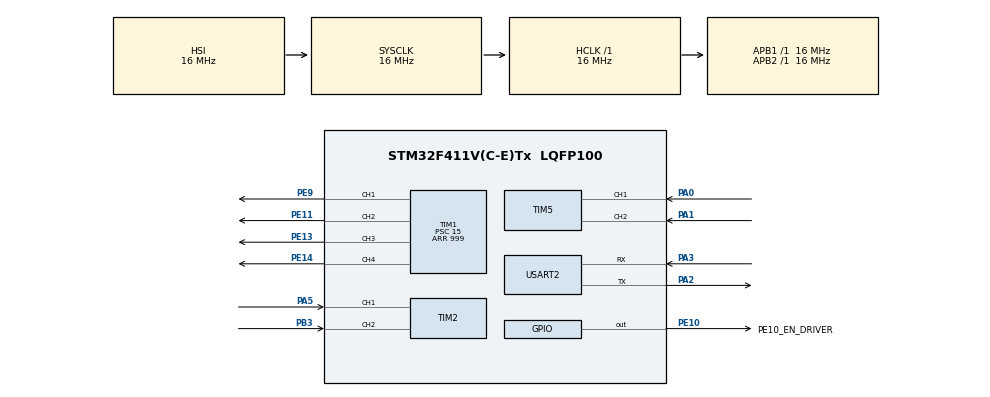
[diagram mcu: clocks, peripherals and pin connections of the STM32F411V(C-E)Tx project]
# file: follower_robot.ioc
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Dma.Request0=USART2_TX
Dma.USART2_TX.0.Direction=DMA_MEMORY_TO_PERIPH
Dma.USART2_TX.0.FIFOMode=DMA_FIFOMODE_DISABLE
Dma.USART2_TX.0.Instance=DMA1_Stream6
Dma.USART2_TX.0.MemDataAlignment=DMA_MDATAALIGN_BYTE
Dma.USART2_TX.0.MemInc=DMA_MINC_ENABLE
Dma.USART2_TX.0.Mode=DMA_NORMAL
Dma.USART2_TX.0.PeriphDataAlignment=DMA_PDATAALIGN_BYTE
Dma.USART2_TX.0.PeriphInc=DMA_PINC_DISABLE
Dma.USART2_TX.0.Priority=DMA_PRIORITY_LOW
Mcu.Family=STM32F4
Mcu.Name=STM32F411V(C-E)Tx
Mcu.Package=LQFP100
NVIC.DMA1_Stream6_IRQn=true\:0\:0\:false\:false\:true\:false\:true\:true
NVIC.PriorityGroup=NVIC_PRIORITYGROUP_4
NVIC.TIM3_IRQn=true\:1\:0\:true\:false\:true\:true\:true\:true
NVIC.USART2_IRQn=true\:0\:0\:false\:false\:true\:true\:true\:true
PA0-WKUP.Signal=S_TIM5_CH1
PA1.Signal=S_TIM5_CH2
PA13.Mode=Serial_Wire
PA13.Signal=SYS_JTMS-SWDIO
PA14.Mode=Serial_Wire
PA14.Signal=SYS_JTCK-SWCLK
PA2.Mode=Asynchronous
PA2.Signal=USART2_TX
PA3.Mode=Asynchronous
PA3.Signal=USART2_RX
PA5.Signal=S_TIM2_CH1_ETR
PB3.Signal=S_TIM2_CH2
PE10.GPIO_Label=PE10_EN_DRIVER
PE10.Signal=GPIO_Output
PE11.Signal=S_TIM1_CH2
PE13.Signal=S_TIM1_CH3
PE14.Signal=S_TIM1_CH4
PE9.Signal=S_TIM1_CH1
ProjectManager.HeapSize=0x200
ProjectManager.StackSize=0x400
ProjectManager.TargetToolchain=STM32CubeIDE
RCC.AHBFreq_Value=16000000
RCC.APB1Freq_Value=16000000
RCC.APB2Freq_Value=16000000
RCC.CortexFreq_Value=16000000
RCC.HSE_VALUE=25000000
RCC.HSI_VALUE=16000000
RCC.LSE_VALUE=32768
RCC.SYSCLKFreq_VALUE=16000000
RCC.VCOOutputFreq_Value=192000000
SH.S_TIM1_CH1.0=TIM1_CH1,PWM Generation1 CH1
SH.S_TIM1_CH2.0=TIM1_CH2,PWM Generation2 CH2
SH.S_TIM1_CH3.0=TIM1_CH3,PWM Generation3 CH3
SH.S_TIM1_CH4.0=TIM1_CH4,PWM Generation4 CH4
SH.S_TIM2_CH1_ETR.0=TIM2_CH1,Encoder_Interface
SH.S_TIM2_CH2.0=TIM2_CH2,Encoder_Interface
SH.S_TIM5_CH1.0=TIM5_CH1,Encoder_Interface
SH.S_TIM5_CH2.0=TIM5_CH2,Encoder_Interface
TIM1.Channel-PWM\ Generation1\ CH1=TIM_CHANNEL_1
TIM1.Channel-PWM\ Generation2\ CH2=TIM_CHANNEL_2
TIM1.Channel-PWM\ Generation3\ CH3=TIM_CHANNEL_3
TIM1.Channel-PWM\ Generation4\ CH4=TIM_CHANNEL_4
TIM1.Period=999
TIM1.Prescaler=15
TIM3.Period=9999
TIM3.Prescaler=159
USART2.VirtualMode=VM_ASYNC
VP_TIM1_VS_ClockSourceINT.Mode=Internal
VP_TIM3_VS_ClockSourceINT.Mode=Internal
board=custom

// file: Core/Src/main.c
/* USER CODE BEGIN Header */
/**
  ******************************************************************************
  * @file           : main.c
  * @brief          : Main program body
  ******************************************************************************
  * @attention
  *
  * Copyright (c) 2024 STMicroelectronics.
  * All rights reserved.
  *
  * This software is licensed under terms that can be found in the LICENSE file
  * in the root directory of this software component.
  * If no LICENSE file comes with this software, it is provided AS-IS.
  *
  ******************************************************************************
  */
/* USER CODE END Header */
#include "main.h"

/* USER CODE BEGIN Includes */
#include "transmit_function.h"
#include "decoding_frame.h"
#include "Robot_odom.h"
#include "string.h"
#include "pid_module.h"
/* USER CODE END Includes */

/* USER CODE BEGIN PTD */
uint8_t enc_buff_right[4];
uint8_t enc_buff_left[4];
uint8_t Rx;// chỉ lưu 1byte
uint8_t uart_buff[50];
int uart_flag = 0;
uint8_t uart_len = 0;

int32_t encoder_value_left = 0;
int32_t encoder_value_right = 0;
int32_t pre_encoder_value_left = 0;
int32_t pre_encoder_value_right = 0;
int32_t encoder_difference_left  = 0;
int32_t encoder_difference_right = 0;

uint8_t encoder_buf[30];
char data[100] ="";
uint8_t data_right[11] ="";
uint8_t data_left[11] ="";

int  en_run = 0;
int en_PID = 0;
int count =0;
float phid_pid = 0.0;
float distance_to_goals = 0;
/* USER CODE END PTD */

TIM_HandleTypeDef htim1;
TIM_HandleTypeDef htim2;
TIM_HandleTypeDef htim3;
TIM_HandleTypeDef htim5;

UART_HandleTypeDef huart2;
DMA_HandleTypeDef hdma_usart2_tx;

Robot myRobot;
PID_handleTypedef hpid;
desired_point my_desired_point;

void SystemClock_Config(void);
static void MX_GPIO_Init(void);
static void MX_DMA_Init(void);
static void MX_USART2_UART_Init(void);
static void MX_TIM1_Init(void);
static void MX_TIM2_Init(void);
static void MX_TIM3_Init(void);
static void MX_TIM5_Init(void);

/* USER CODE BEGIN 0 */

void HAL_UART_RxCpltCallback(UART_HandleTypeDef *huart){
	if(huart->Instance==huart2.Instance){
//		receive_data(Rx);
		if(Rx == '\n'){
			uart_flag =1;
			uart_buff[uart_len++] = Rx;
		}

		else{
			uart_buff[uart_len++]= Rx;
		}

		HAL_UART_Receive_IT(&huart2, &Rx, 1);
	}
}
// todo timer interuppt
void HAL_TIM_PeriodElapsedCallback(TIM_HandleTypeDef *htim){
	if (htim->Instance == TIM3){
		//doc encoder
		if(count >= 0.1 ){

			encoder_value_left = -1*__HAL_TIM_GET_COUNTER(&htim2);
			encoder_value_right =__HAL_TIM_GET_COUNTER(&htim5);

			encoder_difference_left = encoder_value_left - pre_encoder_value_left;
			encoder_difference_right = encoder_value_right - pre_encoder_value_right;
			pre_encoder_value_right = encoder_value_right ;
			pre_encoder_value_left = encoder_value_left ;
//
			update_Position(&myRobot, encoder_difference_left, encoder_difference_right,0.1);
//			update_Position_base_velocity(&myRobot, encoder_difference_left, encoder_difference_right,0.1);//delta time is 0.1

			//ennable PID calculation
			en_PID =1;

			//end condition
//			distance_to_goals =sqrt((myRobot.x-my_desired_point.x_d)*(myRobot.x - my_desired_point.x_d)+(myRobot.y - my_desired_point.y_d)*(myRobot.y-my_desired_point.y_d));
//			//sprintf(data,"!distance:%.2f#\n",distance_to_goals);
//			//HAL_UART_Transmit_DMA(&huart2, (uint8_t*)data,strlen(data));()abs(myRobot.x - my_desired_point.x_d) < 0.01) &(abs(myRobot.y - my_desired_point.y_d) <0.01
//			if((distance_to_goals < 0.03) ){
//				HAL_GPIO_WritePin(PE10_EN_DRIVER_GPIO_Port,PE10_EN_DRIVER_Pin,RESET);
//				en_run = 0;
//			}
			//return encoder value
//			sprintf(data,"!enc_L:%d#encR:%d#\n",encoder_value_left,encoder_value_right);
//			HAL_UART_Transmit_DMA(&huart2, (uint8_t*)data,strlen(data));

			//returm diff encoder value
//			sprintf(data,"!L_diff:%d#R_diff:%d#\n",encoder_difference_left,encoder_difference_right);
//			HAL_UART_Transmit_DMA(&huart2, (uint8_t*)data,strlen(data));

			//return x y phi; !cmd:RUN#x:0.00#y:0.00#phi:0.00#
//			sprintf(data,"!cmd:%s#x:%.2f#y:%.2f#phi:%.2f#\n",myRobot.cmd,myRobot.x,myRobot.y,rad_to_degree(myRobot.theta));
//			HAL_UART_Transmit_DMA(&huart2, (uint8_t*)data,strlen(data));

			//return PWM
//			sprintf(data,"!W_L_PWM:%.2f#W_R_PWM:%.2f#\n",myRobot.v_l_PWM,myRobot.v_r_PWM);
//			HAL_UART_Transmit_DMA(&huart2, (uint8_t*)data,strlen(data));

			if(strcmp(myRobot.cmd,"RUN")== 0 ){
//				return x y phi; !cmd:RUN#x:0.00#y:0.00#phi:0.00#
//				sprintf(data,"!cmd:%s#x:%.2f#y:%.2f#phi:%.2f#\n",myRobot.cmd,myRobot.x,myRobot.y,rad_to_degree(myRobot.theta));
//				HAL_UART_Transmit_DMA(&huart2, (uint8_t*)data,strlen(data));
				//return PWM
//				sprintf(data,"!W_L_PWM:%.2f#W_R_PWM:%.2f#\n",myRobot.v_l_PWM,myRobot.v_r_PWM);
//				HAL_UART_Transmit_DMA(&huart2, (uint8_t*)data,strlen(data));
			}
			//return x y phi; !cmd:RUN#x:0.00#y:0.00#phi:0.00#
			sprintf(data,"!cmd:%s#x:%.2f#y:%.2f#phi:%.2f#\n",myRobot.cmd,myRobot.x,myRobot.y,rad_to_degree(myRobot.theta));
			HAL_UART_Transmit_DMA(&huart2, (uint8_t*)data,strlen(data));

			//return PWM
//			sprintf(data,"!W_L_PWM:%.2f#W_R_PWM:%.2f#\n",myRobot.v_l_PWM,myRobot.v_r_PWM);
//			HAL_UART_Transmit_DMA(&huart2, (uint8_t*)data,strlen(data));

//			sprintf(data,"!cmd:%s#v_r:%.2f#v_l:%.2f#\n",myRobot.cmd,myRobot.v_r,myRobot.v_l);
//			HAL_UART_Transmit_DMA(&huart2, (uint8_t*)data,strlen(data));

			//reset count
			count=0;
		}
		count++;
	}
}
/* USER CODE END 0 */

int main(void)
{

  /* MCU Configuration--------------------------------------------------------*/

  /* Reset of all peripherals, Initializes the Flash interface and the Systick. */
  HAL_Init();

  /* Configure the system clock */
  SystemClock_Config();

  /* Initialize all configured peripherals */
  MX_GPIO_Init();
  MX_DMA_Init();
  MX_USART2_UART_Init();
  MX_TIM1_Init();
  MX_TIM2_Init();
  MX_TIM3_Init();
  MX_TIM5_Init();

  /* USER CODE BEGIN 2 */
  //start  uart2 interupt
  // todo
  init_Robot(&myRobot);
  desired_point_init(&my_desired_point);
  HAL_UART_Receive_IT(&huart2, &Rx, 1);
  //ref KP KI KD
//  pid_set_Kp_Ki_Kd(&hpid,1.55, 0.055, 0.025,0.1);
  pid_set_Kp_Ki_Kd(&hpid, 5, 0.13, 0.025,0.1);
  //start PWM TIM1; chanel 1,2 for left motor ; chanel 3,4 for right  motor
  //chanel 1 PE9 ;chanel 2 PE11; chanel 3 PE23 ; chanel 4 PE14;
  HAL_TIM_PWM_Start(&htim1, TIM_CHANNEL_1);
  HAL_TIM_PWM_Start(&htim1, TIM_CHANNEL_2);
  HAL_TIM_PWM_Start(&htim1, TIM_CHANNEL_3);
  HAL_TIM_PWM_Start(&htim1, TIM_CHANNEL_4);

  //start encoder Mode
  // TIM2 For encoder of left motor , TIM5 for encoder of Right motor
  // TIM2:PA5,PB3 ; TIM5 PA0,PA1
//  HAL_TIM_Encoder_Start(&htim2, TIM_CHANNEL_1|TIM_CHANNEL_2);
//  HAL_TIM_Encoder_Start(&htim5, TIM_CHANNEL_1|TIM_CHANNEL_2);
    HAL_TIM_Encoder_Start(&htim2, TIM_CHANNEL_2);
    HAL_TIM_Encoder_Start(&htim5, TIM_CHANNEL_1);
  //start interrupt timer 3
  HAL_TIM_Base_Start_IT(&htim3);
  /* USER CODE END 2 */

  /* Infinite loop */
  /* USER CODE BEGIN WHILE */
  while (1)
  {
//	  HAL_UART_Transmit(&huart2, tx_buff, sizeof(tx_buff),100);
//	  HAL_Delay(100);
// todo pid

	  // transmit data when stm32 recieved data form PC
	  if(uart_flag == 1){
		  //decoding frame data;
//		  split_frame((char*)uart_buff, &my_desired_point);
		  split_frame_vel((char*)uart_buff, &my_desired_point);
		  if(strcmp(my_desired_point.cmd_d, "RUN") == 0){
			  strcpy(myRobot.cmd,my_desired_point.cmd_d);
			  HAL_GPIO_WritePin(PE10_EN_DRIVER_GPIO_Port,PE10_EN_DRIVER_Pin,SET);
			  en_run = 1;
		  }
		  else{
			  HAL_GPIO_WritePin(PE10_EN_DRIVER_GPIO_Port,PE10_EN_DRIVER_Pin,RESET);
			  en_run = 0;
		  }
//		  HAL_UART_Transmit_DMA(&huart2, uart_buff, sizeof(uart_buff));

		  //send data to check desire point: !cmd:RUN#v_r:0.00#v_l:0.00#\n
//		  sprintf(data,"!cmd:%s#v_r:%.2f#v_l:%.2f#\n",my_desired_point.cmd_d,my_desired_point.v_r,my_desired_point.v_l);
//		  HAL_UART_Transmit_DMA(&huart2, (uint8_t*)data,strlen(data));

		  HAL_Delay(100);
		  uart_len = 0;
		  uart_flag =0;
		  en_PID = 1;
	  }
		 // PID and control motor
	  	  if(en_PID ==1){
	  		  // after recieve data store desire data to robot
	  		  myRobot.v_r = my_desired_point.v_r;
	  		  myRobot.v_l = my_desired_point.v_l;
		  	  //limint vr vl
	  		  if(myRobot.v_r >= 0){
	  			  if(myRobot.v_r > v_max){
	  				  myRobot.v_r = v_max;
	  			  }
	  			  else if(myRobot.v_r < v_min ){
	  				myRobot.v_r  = v_min;
	  			  }
	  		  }
	  		  else if(myRobot.v_r < 0){
	  			  if(-myRobot.v_r > v_max){
	  				  myRobot.v_r = -v_max;
	  			  }
	  			  else if(-myRobot.v_r < v_min ){
	  				myRobot.v_r  = -v_min;
	  			  }
	  		  }
//		  	  if(abs(myRobot.v_r) > v_max){
//		  		  if(myRobot.v_r >= 0 )
//		  			  myRobot.v_r  = (float) v_max;
//		  		  else
//		  			  myRobot.v_r  = (float)-1* v_max;
//		  	  }
//
//		  	  else if(abs(myRobot.v_r) < v_min ){
//		  		  if(myRobot.v_r >= 0 )
//		  			  myRobot.v_r  = (float)v_min;
//		  		  else
//		  			  myRobot.v_r = (float)-1*v_min ;
//		  	  }
//		  	  else{
//		  		  myRobot.v_r = my_desired_point.v_r;
//
//		  	  }
//
//		  	  if(abs(myRobot.v_l) > v_max){
//		  		  if(myRobot.v_l > 0 )
//		  			  myRobot.v_l  = (float)v_max;
//		  		  else
//		  			  myRobot.v_l  = (float)-1* v_max;
//		  	  }
//		  	  else if(abs(myRobot.v_l) < v_min ){
//		  		  if(myRobot.v_l > 0 )
//		  			  myRobot.v_l  =(float) v_min;
//		  		  else
//		  			  myRobot.v_l = (float)-1*v_min ;
//		  	  }
//		  	  else{
//		  		myRobot.v_r = my_desired_point.v_r;
//		  	  }
//		  	  sprintf(data,"!cmd:%s#v_r:%.2f#v_l:%.2f#\n",myRobot.cmd,myRobot.v_r,myRobot.v_l);
//		  	  HAL_UART_Transmit_DMA(&huart2, (uint8_t*)data,strlen(data));
		  	  // limit max min PWM for motor
		  	  myRobot.v_l_PWM = mps_to_PWM(myRobot.v_l);
		  	  myRobot.v_r_PWM = mps_to_PWM(myRobot.v_r );
//	  		  en_PID =0;
	  	  }

		  // PWM cho 2 motor
		  if(en_run == 1){
			  //left motor
			  // clockwise
			  if(myRobot.v_l_PWM > 0){
				  __HAL_TIM_SET_COMPARE(&htim1,TIM_CHANNEL_1,(int)myRobot.v_l_PWM);//
				  __HAL_TIM_SET_COMPARE(&htim1,TIM_CHANNEL_2,0);
			  }
			  //counter Clokwise
			  else{
				  __HAL_TIM_SET_COMPARE(&htim1,TIM_CHANNEL_1,0);//
				  __HAL_TIM_SET_COMPARE(&htim1,TIM_CHANNEL_2,(int)-myRobot.v_l_PWM);
			  }
			  //right motor
			  // clockwise
			  if(myRobot.v_r_PWM > 0){
				  __HAL_TIM_SET_COMPARE(&htim1,TIM_CHANNEL_3,(int)myRobot.v_r_PWM);//
				  __HAL_TIM_SET_COMPARE(&htim1,TIM_CHANNEL_4,0);
			  }
			  //counter Clokwise
			  else{
				  __HAL_TIM_SET_COMPARE(&htim1,TIM_CHANNEL_3,0);//
				  __HAL_TIM_SET_COMPARE(&htim1,TIM_CHANNEL_4,(int)-1*myRobot.v_r_PWM);
			  }
		  }
		  else{
			  strcpy(myRobot.cmd,"STP");
//			  myRobot.theta = 0.0;
//			  init_Robot(&myRobot);
			  //left motor
			  __HAL_TIM_SET_COMPARE(&htim1,TIM_CHANNEL_1,0);//
			  __HAL_TIM_SET_COMPARE(&htim1,TIM_CHANNEL_2,0);
			  //right motor
			  __HAL_TIM_SET_COMPARE(&htim1,TIM_CHANNEL_3,0);//
			  __HAL_TIM_SET_COMPARE(&htim1,TIM_CHANNEL_4,0);
			  //enable driver
//			  HAL_GPIO_WritePin(PE10_EN_DRIVER_GPIO_Port,PE10_EN_DRIVER_Pin,RESET);
		  }
		  // end condition

    /* USER CODE END WHILE */

  }
}

void SystemClock_Config(void)
{
  RCC_OscInitTypeDef RCC_OscInitStruct = {0};
  RCC_ClkInitTypeDef RCC_ClkInitStruct = {0};

  /** Configure the main internal regulator output voltage
  */
  __HAL_RCC_PWR_CLK_ENABLE();
  __HAL_PWR_VOLTAGESCALING_CONFIG(PWR_REGULATOR_VOLTAGE_SCALE1);

  /** Initializes the RCC Oscillators according to the specified parameters
  * in the RCC_OscInitTypeDef structure.
  */
  RCC_OscInitStruct.OscillatorType = RCC_OSCILLATORTYPE_HSI;
  RCC_OscInitStruct.HSIState = RCC_HSI_ON;
  RCC_OscInitStruct.HSICalibrationValue = RCC_HSICALIBRATION_DEFAULT;
  RCC_OscInitStruct.PLL.PLLState = RCC_PLL_NONE;
  if (HAL_RCC_OscConfig(&RCC_OscInitStruct) != HAL_OK)
  {
    Error_Handler();
  }

  /** Initializes the CPU, AHB and APB buses clocks
  */
  RCC_ClkInitStruct.ClockType = RCC_CLOCKTYPE_HCLK|RCC_CLOCKTYPE_SYSCLK
                              |RCC_CLOCKTYPE_PCLK1|RCC_CLOCKTYPE_PCLK2;
  RCC_ClkInitStruct.SYSCLKSource = RCC_SYSCLKSOURCE_HSI;
  RCC_ClkInitStruct.AHBCLKDivider = RCC_SYSCLK_DIV1;
  RCC_ClkInitStruct.APB1CLKDivider = RCC_HCLK_DIV1;
  RCC_ClkInitStruct.APB2CLKDivider = RCC_HCLK_DIV1;

  if (HAL_RCC_ClockConfig(&RCC_ClkInitStruct, FLASH_LATENCY_0) != HAL_OK)
  {
    Error_Handler();
  }
}

static void MX_TIM1_Init(void)
{

  TIM_ClockConfigTypeDef sClockSourceConfig = {0};
  TIM_MasterConfigTypeDef sMasterConfig = {0};
  TIM_OC_InitTypeDef sConfigOC = {0};
  TIM_BreakDeadTimeConfigTypeDef sBreakDeadTimeConfig = {0};

  htim1.Instance = TIM1;
  htim1.Init.Prescaler = 15;
  htim1.Init.CounterMode = TIM_COUNTERMODE_UP;
  htim1.Init.Period = 999;
  htim1.Init.ClockDivision = TIM_CLOCKDIVISION_DIV1;
  htim1.Init.RepetitionCounter = 0;
  htim1.Init.AutoReloadPreload = TIM_AUTORELOAD_PRELOAD_DISABLE;
  if (HAL_TIM_Base_Init(&htim1) != HAL_OK)
  {
    Error_Handler();
  }
  sClockSourceConfig.ClockSource = TIM_CLOCKSOURCE_INTERNAL;
  if (HAL_TIM_ConfigClockSource(&htim1, &sClockSourceConfig) != HAL_OK)
  {
    Error_Handler();
  }
  if (HAL_TIM_PWM_Init(&htim1) != HAL_OK)
  {
    Error_Handler();
  }
  sMasterConfig.MasterOutputTrigger = TIM_TRGO_RESET;
  sMasterConfig.MasterSlaveMode = TIM_MASTERSLAVEMODE_DISABLE;
  if (HAL_TIMEx_MasterConfigSynchronization(&htim1, &sMasterConfig) != HAL_OK)
  {
    Error_Handler();
  }
  sConfigOC.OCMode = TIM_OCMODE_PWM1;
  sConfigOC.Pulse = 0;
  sConfigOC.OCPolarity = TIM_OCPOLARITY_HIGH;
  sConfigOC.OCNPolarity = TIM_OCNPOLARITY_HIGH;
  sConfigOC.OCFastMode = TIM_OCFAST_DISABLE;
  sConfigOC.OCIdleState = TIM_OCIDLESTATE_RESET;
  sConfigOC.OCNIdleState = TIM_OCNIDLESTATE_RESET;
  if (HAL_TIM_PWM_ConfigChannel(&htim1, &sConfigOC, TIM_CHANNEL_1) != HAL_OK)
  {
    Error_Handler();
  }
  if (HAL_TIM_PWM_ConfigChannel(&htim1, &sConfigOC, TIM_CHANNEL_2) != HAL_OK)
  {
    Error_Handler();
  }
  if (HAL_TIM_PWM_ConfigChannel(&htim1, &sConfigOC, TIM_CHANNEL_3) != HAL_OK)
  {
    Error_Handler();
  }
  if (HAL_TIM_PWM_ConfigChannel(&htim1, &sConfigOC, TIM_CHANNEL_4) != HAL_OK)
  {
    Error_Handler();
  }
  sBreakDeadTimeConfig.OffStateRunMode = TIM_OSSR_DISABLE;
  sBreakDeadTimeConfig.OffStateIDLEMode = TIM_OSSI_DISABLE;
  sBreakDeadTimeConfig.LockLevel = TIM_LOCKLEVEL_OFF;
  sBreakDeadTimeConfig.DeadTime = 0;
  sBreakDeadTimeConfig.BreakState = TIM_BREAK_DISABLE;
  sBreakDeadTimeConfig.BreakPolarity = TIM_BREAKPOLARITY_HIGH;
  sBreakDeadTimeConfig.AutomaticOutput = TIM_AUTOMATICOUTPUT_DISABLE;
  if (HAL_TIMEx_ConfigBreakDeadTime(&htim1, &sBreakDeadTimeConfig) != HAL_OK)
  {
    Error_Handler();
  }
  HAL_TIM_MspPostInit(&htim1);

}

static void MX_TIM2_Init(void)
{

  TIM_Encoder_InitTypeDef sConfig = {0};
  TIM_MasterConfigTypeDef sMasterConfig = {0};

  htim2.Instance = TIM2;
  htim2.Init.Prescaler = 0;
  htim2.Init.CounterMode = TIM_COUNTERMODE_UP;
  htim2.Init.Period = 4294967295;
  htim2.Init.ClockDivision = TIM_CLOCKDIVISION_DIV1;
  htim2.Init.AutoReloadPreload = TIM_AUTORELOAD_PRELOAD_DISABLE;
  sConfig.EncoderMode = TIM_ENCODERMODE_TI1;
  sConfig.IC1Polarity = TIM_ICPOLARITY_RISING;
  sConfig.IC1Selection = TIM_ICSELECTION_DIRECTTI;
  sConfig.IC1Prescaler = TIM_ICPSC_DIV1;
  sConfig.IC1Filter = 0;
  sConfig.IC2Polarity = TIM_ICPOLARITY_RISING;
  sConfig.IC2Selection = TIM_ICSELECTION_DIRECTTI;
  sConfig.IC2Prescaler = TIM_ICPSC_DIV1;
  sConfig.IC2Filter = 0;
  if (HAL_TIM_Encoder_Init(&htim2, &sConfig) != HAL_OK)
  {
    Error_Handler();
  }
  sMasterConfig.MasterOutputTrigger = TIM_TRGO_RESET;
  sMasterConfig.MasterSlaveMode = TIM_MASTERSLAVEMODE_DISABLE;
  if (HAL_TIMEx_MasterConfigSynchronization(&htim2, &sMasterConfig) != HAL_OK)
  {
    Error_Handler();
  }

}

static void MX_TIM3_Init(void)
{

  TIM_ClockConfigTypeDef sClockSourceConfig = {0};
  TIM_MasterConfigTypeDef sMasterConfig = {0};

  htim3.Instance = TIM3;
  htim3.Init.Prescaler = 159;
  htim3.Init.CounterMode = TIM_COUNTERMODE_UP;
  htim3.Init.Period = 9999;
  htim3.Init.ClockDivision = TIM_CLOCKDIVISION_DIV1;
  htim3.Init.AutoReloadPreload = TIM_AUTORELOAD_PRELOAD_DISABLE;
  if (HAL_TIM_Base_Init(&htim3) != HAL_OK)
  {
    Error_Handler();
  }
  sClockSourceConfig.ClockSource = TIM_CLOCKSOURCE_INTERNAL;
  if (HAL_TIM_ConfigClockSource(&htim3, &sClockSourceConfig) != HAL_OK)
  {
    Error_Handler();
  }
  sMasterConfig.MasterOutputTrigger = TIM_TRGO_RESET;
  sMasterConfig.MasterSlaveMode = TIM_MASTERSLAVEMODE_DISABLE;
  if (HAL_TIMEx_MasterConfigSynchronization(&htim3, &sMasterConfig) != HAL_OK)
  {
    Error_Handler();
  }

}

static void MX_TIM5_Init(void)
{

  TIM_Encoder_InitTypeDef sConfig = {0};
  TIM_MasterConfigTypeDef sMasterConfig = {0};

  htim5.Instance = TIM5;
  htim5.Init.Prescaler = 0;
  htim5.Init.CounterMode = TIM_COUNTERMODE_UP;
  htim5.Init.Period = 4294967295;
  htim5.Init.ClockDivision = TIM_CLOCKDIVISION_DIV1;
  htim5.Init.AutoReloadPreload = TIM_AUTORELOAD_PRELOAD_DISABLE;
  sConfig.EncoderMode = TIM_ENCODERMODE_TI1;
  sConfig.IC1Polarity = TIM_ICPOLARITY_RISING;
  sConfig.IC1Selection = TIM_ICSELECTION_DIRECTTI;
  sConfig.IC1Prescaler = TIM_ICPSC_DIV1;
  sConfig.IC1Filter = 0;
  sConfig.IC2Polarity = TIM_ICPOLARITY_RISING;
  sConfig.IC2Selection = TIM_ICSELECTION_DIRECTTI;
  sConfig.IC2Prescaler = TIM_ICPSC_DIV1;
  sConfig.IC2Filter = 0;
  if (HAL_TIM_Encoder_Init(&htim5, &sConfig) != HAL_OK)
  {
    Error_Handler();
  }
  sMasterConfig.MasterOutputTrigger = TIM_TRGO_RESET;
  sMasterConfig.MasterSlaveMode = TIM_MASTERSLAVEMODE_DISABLE;
  if (HAL_TIMEx_MasterConfigSynchronization(&htim5, &sMasterConfig) != HAL_OK)
  {
    Error_Handler();
  }

}

static void MX_USART2_UART_Init(void)
{

  huart2.Instance = USART2;
  huart2.Init.BaudRate = 115200;
  huart2.Init.WordLength = UART_WORDLENGTH_8B;
  huart2.Init.StopBits = UART_STOPBITS_1;
  huart2.Init.Parity = UART_PARITY_NONE;
  huart2.Init.Mode = UART_MODE_TX_RX;
  huart2.Init.HwFlowCtl = UART_HWCONTROL_NONE;
  huart2.Init.OverSampling = UART_OVERSAMPLING_16;
  if (HAL_UART_Init(&huart2) != HAL_OK)
  {
    Error_Handler();
  }

}

static void MX_DMA_Init(void)
{

  /* DMA controller clock enable */
  __HAL_RCC_DMA1_CLK_ENABLE();

  /* DMA interrupt init */
  /* DMA1_Stream6_IRQn interrupt configuration */
  HAL_NVIC_SetPriority(DMA1_Stream6_IRQn, 0, 0);
  HAL_NVIC_EnableIRQ(DMA1_Stream6_IRQn);

}

static void MX_GPIO_Init(void)
{
  GPIO_InitTypeDef GPIO_InitStruct = {0};

  /* GPIO Ports Clock Enable */
  __HAL_RCC_GPIOA_CLK_ENABLE();
  __HAL_RCC_GPIOE_CLK_ENABLE();
  __HAL_RCC_GPIOB_CLK_ENABLE();

  /*Configure GPIO pin Output Level */
  HAL_GPIO_WritePin(PE10_EN_DRIVER_GPIO_Port, PE10_EN_DRIVER_Pin, GPIO_PIN_RESET);

  /*Configure GPIO pin : PE10_EN_DRIVER_Pin */
  GPIO_InitStruct.Pin = PE10_EN_DRIVER_Pin;
  GPIO_InitStruct.Mode = GPIO_MODE_OUTPUT_PP;
  GPIO_InitStruct.Pull = GPIO_NOPULL;
  GPIO_InitStruct.Speed = GPIO_SPEED_FREQ_LOW;
  HAL_GPIO_Init(PE10_EN_DRIVER_GPIO_Port, &GPIO_InitStruct);

}

void Error_Handler(void)
{
  __disable_irq();
  while (1)
  {
  }
}
